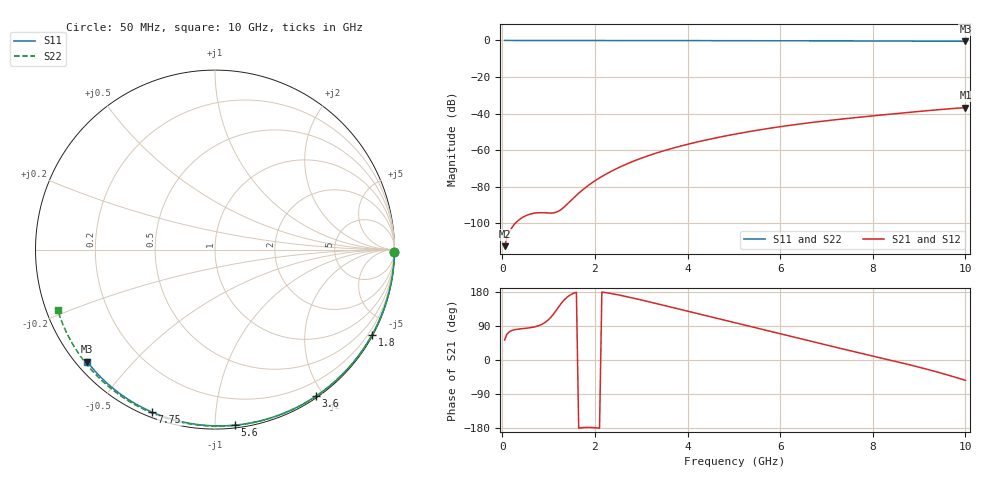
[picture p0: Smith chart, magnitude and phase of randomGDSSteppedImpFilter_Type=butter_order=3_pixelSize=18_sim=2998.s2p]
! freq	dB(S11)	phase(S11)	dB(S12)	phase(S12)
!  dB(S21)	phase(S21)	dB(S22)	phase(S22)
!S-par simulation data
#  GHz  S  DB  R 50
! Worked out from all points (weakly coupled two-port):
!   200 points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, 50 MHz to 10 GHz, reference 50 ohm
!   highest |S21| = -36.75 dB at 10 GHz (marker M1); lowest = -112.5 dB at 50 MHz (marker M2)
!   lowest |S11| = -0.5 dB at 10 GHz (marker M3), VSWR 36.32, Z = 1.57 - j18.8 ohm
!   |S11| at or under -10 dB: nowhere
!   |S22| runs from -0.6 to 0.0 dB; largest |S21 - S12| = 0
!   S11 on the Smith chart (normalised r, x): 50 MHz: open; 1.8 GHz: 0.03, -3.95; 3.6 GHz: 0.02, -1.90; 5.6 GHz: 0.02, -1.12; 7.75 GHz: 0.02, -0.69; 10 GHz: 0.03, -0.38
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0.05  -0.00 -0.8  -112.49 52.6  -112.49 52.6  -0.00 -0.9
0.45  -0.01 -7.2  -96.57 82.9  -96.57 82.9  -0.01 -8.3
0.9  -0.02 -14.3  -94.21 97.3  -94.21 97.3  -0.02 -16.5
1.3  -0.03 -20.6  -91.85 153.4  -91.85 153.4  -0.03 -23.7
1.75  -0.04 -27.6  -81.39 -178.2  -81.39 -178.2  -0.04 -31.7
1.8  -0.04 -28.4  -80.38 -177.9  -80.38 -177.9  -0.04 -32.6
1.85  -0.04 -29.2  -79.42 -177.8  -79.42 -177.8  -0.04 -33.5
2  -0.04 -31.5  -76.76 -178.6  -76.76 -178.6  -0.05 -36.2
2.2  -0.04 -34.5  -73.64 178.5  -73.64 178.5  -0.05 -39.7
2.55  -0.05 -39.9  -69.09 170.7  -69.09 170.7  -0.06 -45.8
2.95  -0.06 -45.9  -64.87 159.9  -64.87 159.9  -0.07 -52.6
3.4  -0.07 -52.5  -60.99 146.8  -60.99 146.8  -0.08 -60.2
3.6  -0.07 -55.5  -59.49 140.8  -59.49 140.8  -0.09 -63.5
4.25  -0.09 -64.8  -55.29 121.4  -55.29 121.4  -0.10 -74.1
5.05  -0.12 -76.0  -51.11 97.4  -51.11 97.4  -0.13 -86.7
5.6  -0.14 -83.4  -48.70 81.0  -48.70 81.0  -0.16 -95.2
6.15  -0.16 -90.7  -46.62 64.5  -46.62 64.5  -0.18 -103.4
6.7  -0.19 -97.9  -44.80 48.1  -44.80 48.1  -0.22 -111.5
7.75  -0.26 -111.1  -41.87 17.7  -41.87 17.7  -0.29 -126.7
8.35  -0.30 -118.6  -40.37 0.5  -40.37 0.5  -0.34 -135.2
9.2  -0.38 -129.0  -38.34 -25.4  -38.34 -25.4  -0.44 -147.4
10  -0.48 -138.8  -36.75 -53.7  -36.75 -53.7  -0.55 -159.0
